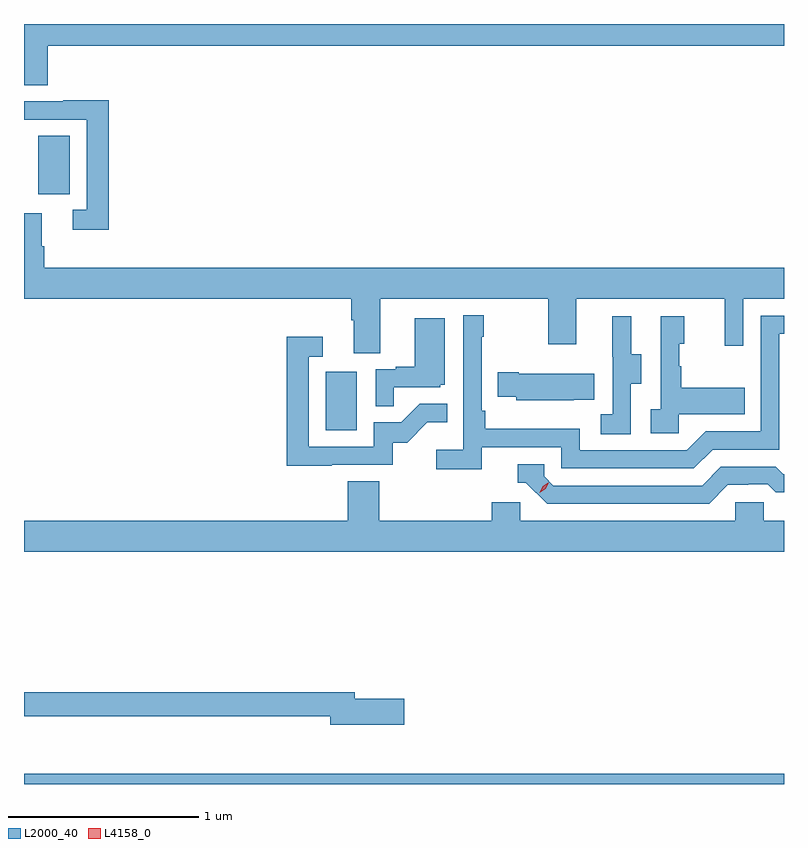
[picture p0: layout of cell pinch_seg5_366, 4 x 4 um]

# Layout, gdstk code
import gdstk
lib = gdstk.Library(unit=1e-6, precision=1e-09)
def R(c, l, rs):  # rectangles x0, y0, x1, y1
    for r in rs: c.add(gdstk.rectangle(r[:2], r[2:], *l))
def P(c, l, *ps):  # polygons
    for p in ps: c.add(gdstk.Polygon(p, *l))
L2000_40 = (2000, 40)
L4158_0 = (4158, 0)

pinch_seg5_366 = lib.new_cell('pinch_seg5_366')
R(pinch_seg5_366, L2000_40, [(1007.11,888.838,1011.11,888.892), (1008.698,890.7,1008.862,891.007), (1007.186,891.942,1007.35,892.249)])
P(pinch_seg5_366, L2000_40, [(1007.234,892.724),(1011.11,892.724),(1011.11,892.838),(1007.11,892.838),(1007.11,892.516),(1007.234,892.516)],
  [(1007.555,892.436),(1007.317,892.436),(1007.317,892.431),(1007.11,892.431),(1007.11,892.335),(1007.439,892.335),(1007.439,891.861),(1007.367,891.861),(1007.367,891.756),(1007.555,891.756)],
  [(1008.985,891.392),(1009.87,891.392),(1009.87,891.153),(1010.017,891.153),(1010.017,891.392),(1010.798,891.392),(1010.798,891.144),(1010.895,891.144),(1010.895,891.392),(1011.11,891.392),(1011.11,891.556),(1007.216,891.556),(1007.216,891.668),(1007.203,891.668),(1007.203,891.842),(1007.11,891.842),(1007.11,891.392),(1008.833,891.392),(1008.833,891.28),(1008.845,891.28),(1008.845,891.106),(1008.985,891.106)],
  [(1009.52,890.61),(1009.938,890.61),(1009.938,890.499),(1010.635,890.499),(1010.734,890.598),(1011.084,890.598),(1011.084,891.207),(1011.11,891.207),(1011.11,891.303),(1010.988,891.303),(1010.988,890.694),(1010.697,890.694),(1010.598,890.595),(1010.034,890.595),(1010.034,890.707),(1009.538,890.707),(1009.538,890.803),(1009.518,890.803),(1009.518,891.191),(1009.531,891.191),(1009.531,891.304),(1009.422,891.304),(1009.422,890.596),(1009.281,890.596),(1009.281,890.494),(1009.52,890.494)],
  [(1010.304,890.944),(1010.359,890.944),(1010.359,891.099),(1010.305,891.099),(1010.305,891.301),(1010.207,891.301),(1010.207,891.087),(1010.208,891.087),(1010.208,890.783),(1010.145,890.783),(1010.145,890.68),(1010.304,890.68)],
  [(1010.556,890.783),(1010.903,890.783),(1010.903,890.923),(1010.569,890.923),(1010.569,891.038),(1010.559,891.038),(1010.559,891.156),(1010.584,891.156),(1010.584,891.301),(1010.46,891.301),(1010.46,890.81),(1010.409,890.81),(1010.409,890.685),(1010.556,890.685)],
  [(1009.055,890.925),(1009.302,890.925),(1009.302,890.94),(1009.324,890.94),(1009.324,891.289),(1009.166,891.289),(1009.166,891.034),(1009.067,891.034),(1009.067,891.021),(1008.96,891.021),(1008.96,890.827),(1009.055,890.827)],
  [(1008.731,890.517),(1009.05,890.517),(1009.05,890.634),(1009.126,890.634),(1009.233,890.741),(1009.337,890.741),(1009.337,890.84),(1009.193,890.84),(1009.095,890.742),(1008.951,890.742),(1008.951,890.613),(1008.609,890.613),(1008.609,891.087),(1008.682,891.087),(1008.682,891.193),(1008.493,891.193),(1008.493,890.512),(1008.731,890.512)],
  [(1010.003,890.861),(1010.111,890.861),(1010.111,890.998),(1009.714,890.998),(1009.714,891.006),(1009.603,891.006),(1009.603,890.876),(1009.701,890.876),(1009.701,890.858),(1010.003,890.858)],
  [(1010.815,890.412),(1010.922,890.412),(1010.922,890.415),(1011.025,890.415),(1011.067,890.373),(1011.11,890.373),(1011.11,890.469),(1011.106,890.469),(1011.067,890.508),(1010.778,890.508),(1010.679,890.409),(1009.896,890.409),(1009.848,890.457),(1009.848,890.52),(1009.709,890.52),(1009.709,890.424),(1009.752,890.424),(1009.863,890.313),(1010.716,890.313)],
  [(1011.11,890.224),(1011.003,890.224),(1011.003,890.322),(1010.853,890.322),(1010.853,890.224),(1009.722,890.224),(1009.722,890.322),(1009.571,890.322),(1009.571,890.224),(1008.98,890.224),(1008.98,890.432),(1008.815,890.432),(1008.815,890.224),(1007.11,890.224),(1007.11,890.06),(1011.11,890.06)],
  [(1009.111,889.286),(1008.85,889.286),(1008.85,889.322),(1007.11,889.322),(1007.11,889.194),(1008.722,889.194),(1008.722,889.151),(1009.111,889.151)])
P(pinch_seg5_366, L4158_0, [(1009.824,890.371),(1009.824,890.372),(1009.84,890.404),(1009.87,890.424),(1009.871,890.424),(1009.871,890.424),(1009.855,890.391),(1009.825,890.371)])

lib.write_gds('pinch_seg5_366.gds')
